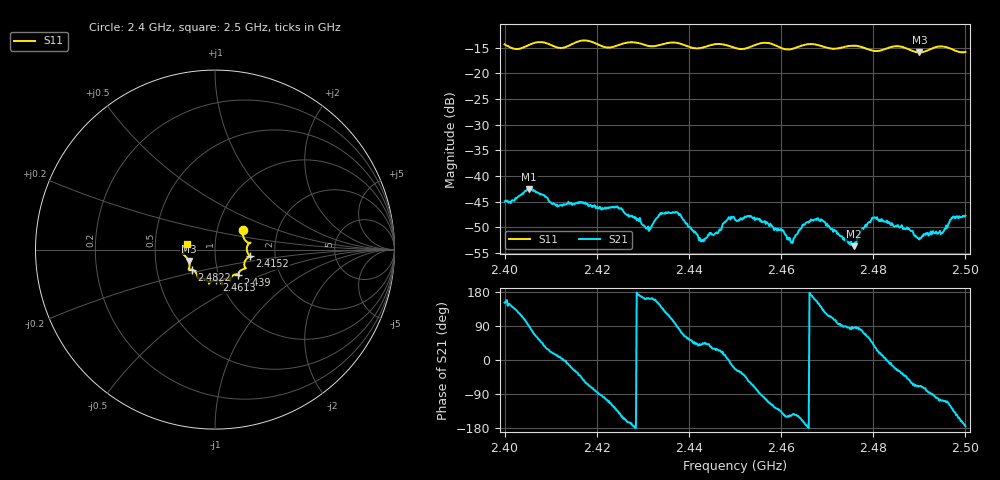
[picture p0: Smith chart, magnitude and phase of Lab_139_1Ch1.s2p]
# Hz S RI R 50
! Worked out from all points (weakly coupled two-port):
!   601 points, 2.4 GHz to 2.5 GHz, reference 50 ohm
!   highest |S21| = -42.55 dB at 2.4053 GHz (marker M1); lowest = -53.7 dB at 2.4758 GHz (marker M2)
!   lowest |S11| = -15.9 dB at 2.49 GHz (marker M3), VSWR 1.38, Z = 36.9 - j4.84 ohm
!   |S11| at or under -10 dB: start of sweep to end of sweep
!   S12 and S22 are empty: the file has one direction only
!   S11 on the Smith chart (normalised r, x): 2.4 GHz: 1.33, +0.31; 2.4152 GHz: 1.48, -0.11; 2.439 GHz: 1.24, -0.36; 2.4613 GHz: 0.96, -0.34; 2.4822 GHz: 0.76, -0.17; 2.5 GHz: 0.73, +0.05
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2.4e9  0.156 0.1117  -0.00489 0.00268  0 0  0 0
2.405333e9  0.186 0.0382  0.000197 0.00746  0 0  0 0
2.411333e9  0.1786 0.0158  0.00515 0.00101  0 0  0 0
2.415167e9  0.1946 -0.0361  0.00469 -0.00249  0 0  0 0
2.416667e9  0.2043 -0.042  0.00376 -0.00394  0 0  0 0
2.424833e9  0.1648 -0.0941  -0.00373 -0.00301  0 0  0 0
2.431167e9  0.146 -0.114  -0.00308 0.000924  0 0  0 0
2.433333e9  0.1326 -0.1325  -0.00344 0.00199  0 0  0 0
2.437e9  0.1353 -0.1468  -0.000475 0.00435  0 0  0 0
2.439e9  0.1278 -0.1391  0.0017 0.00324  0 0  0 0
2.443e9  0.0903 -0.1543  0.00164 0.00161  0 0  0 0
2.45e9  0.0685 -0.1635  0.00343 -0.00152  0 0  0 0
2.455e9  0.0353 -0.1904  0.000473 -0.00372  0 0  0 0
2.461333e9  0.00794 -0.1707  -0.00207 -0.00121  0 0  0 0
2.4625e9  -0.00948 -0.1736  -0.0018 -0.00129  0 0  0 0
2.466667e9  -0.0335 -0.1903  -0.00363 0.000629  0 0  0 0
2.475833e9  -0.0939 -0.1609  0.000154 0.00206  0 0  0 0
2.48e9  -0.107 -0.1268  0.00294 0.00256  0 0  0 0
2.482167e9  -0.1283 -0.1117  0.00354 0.000578  0 0  0 0
2.483333e9  -0.1396 -0.1101  0.00351 -0.000334  0 0  0 0
2.49e9  -0.1466 -0.0638  0.000858 -0.00224  0 0  0 0
2.5e9  -0.1583 0.0338  -0.00407 -0.000391  0 0  0 0
